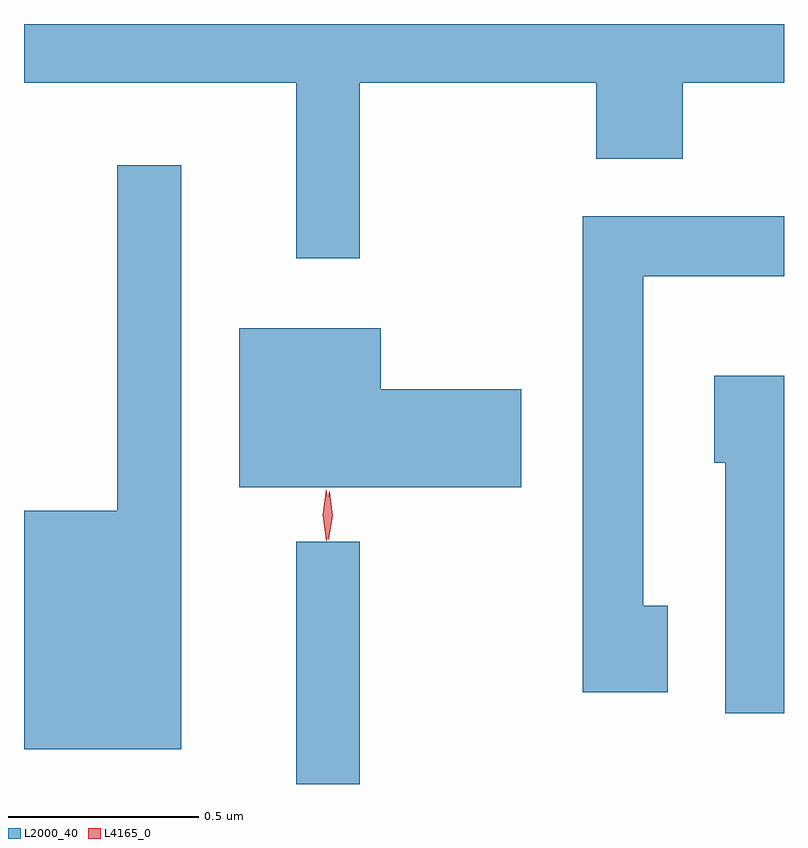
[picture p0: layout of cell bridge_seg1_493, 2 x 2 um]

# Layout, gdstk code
import gdstk
lib = gdstk.Library(unit=1e-6, precision=1e-09)
def R(c, l, rs):  # rectangles x0, y0, x1, y1
    for r in rs: c.add(gdstk.rectangle(r[:2], r[2:], *l))
def P(c, l, *ps):  # polygons
    for p in ps: c.add(gdstk.Polygon(p, *l))
L2000_40 = (2000, 40)
L4165_0 = (4165, 0)

bridge_seg1_493 = lib.new_cell('bridge_seg1_493')
R(bridge_seg1_493, L2000_40, [(388.431,848.89,388.599,849.528)])
P(bridge_seg1_493, L2000_40, [(388.599,850.736),(389.221,850.736),(389.221,850.536),(389.449,850.536),(389.449,850.736),(389.715,850.736),(389.715,850.89),(387.715,850.89),(387.715,850.736),(388.431,850.736),(388.431,850.273),(388.599,850.273)],
  [(388.129,850.518),(387.961,850.518),(387.961,849.609),(387.716,849.609),(387.716,848.981),(388.129,848.981)],
  [(389.409,849.359),(389.344,849.359),(389.344,850.226),(389.715,850.226),(389.715,850.384),(389.186,850.384),(389.186,849.131),(389.409,849.131)],
  [(389.024,849.929),(388.654,849.929),(388.654,850.089),(388.281,850.089),(388.281,849.671),(389.024,849.671)],
  [(389.715,849.964),(389.531,849.964),(389.531,849.736),(389.561,849.736),(389.561,849.076),(389.715,849.076)])
P(bridge_seg1_493, L4165_0, [(388.516,849.533),(388.516,849.534),(388.507,849.597),(388.518,849.659),(388.518,849.66),(388.519,849.659),(388.527,849.596),(388.517,849.534)],
  [(388.511,849.53),(388.511,849.53),(388.501,849.598),(388.51,849.666),(388.511,849.666),(388.511,849.666),(388.521,849.598),(388.512,849.53)])

lib.write_gds('bridge_seg1_493.gds')
